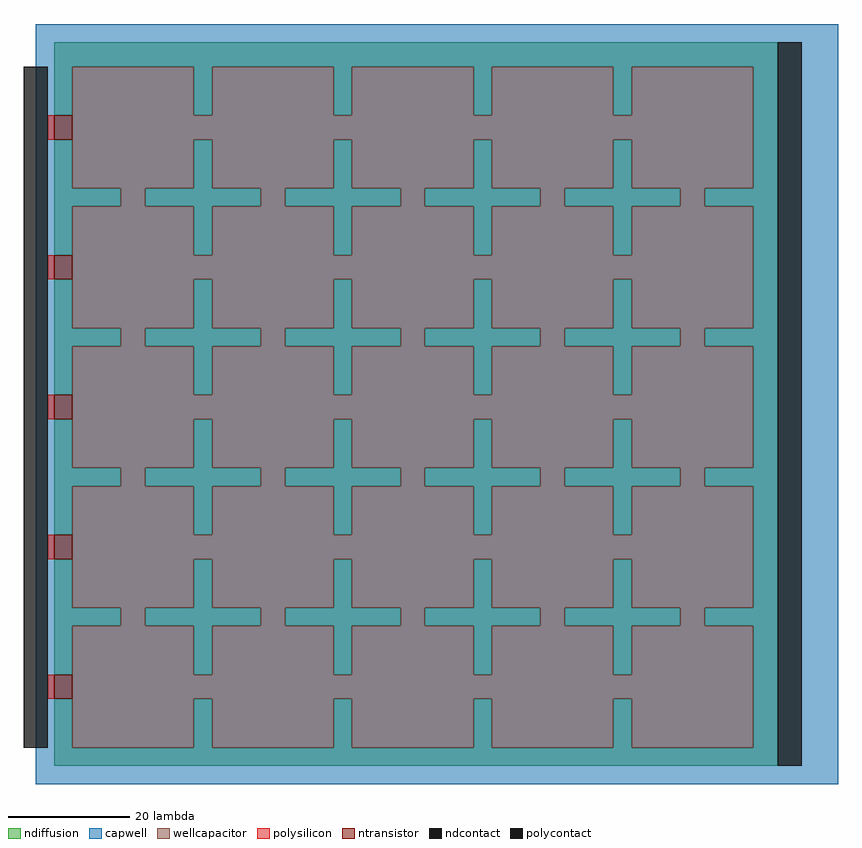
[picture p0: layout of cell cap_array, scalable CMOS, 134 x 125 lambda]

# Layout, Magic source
magic
tech scmos
<< capwell >>
rect -3 -3 129 122
<< polysilicon >>
rect -1 103 0 107
rect -1 80 0 84
rect -1 57 0 61
rect -1 34 0 38
rect -1 11 0 15
<< wellcapacitor >>
rect 3 107 23 115
rect 26 107 46 115
rect 49 107 69 115
rect 72 107 92 115
rect 95 107 115 115
rect 3 103 115 107
rect 3 95 23 103
rect 26 95 46 103
rect 49 95 69 103
rect 72 95 92 103
rect 95 95 115 103
rect 11 92 15 95
rect 34 92 38 95
rect 57 92 61 95
rect 80 92 84 95
rect 103 92 107 95
rect 3 84 23 92
rect 26 84 46 92
rect 49 84 69 92
rect 72 84 92 92
rect 95 84 115 92
rect 3 80 115 84
rect 3 72 23 80
rect 26 72 46 80
rect 49 72 69 80
rect 72 72 92 80
rect 95 72 115 80
rect 11 69 15 72
rect 34 69 38 72
rect 57 69 61 72
rect 80 69 84 72
rect 103 69 107 72
rect 3 61 23 69
rect 26 61 46 69
rect 49 61 69 69
rect 72 61 92 69
rect 95 61 115 69
rect 3 57 115 61
rect 3 49 23 57
rect 26 49 46 57
rect 49 49 69 57
rect 72 49 92 57
rect 95 49 115 57
rect 11 46 15 49
rect 34 46 38 49
rect 57 46 61 49
rect 80 46 84 49
rect 103 46 107 49
rect 3 38 23 46
rect 26 38 46 46
rect 49 38 69 46
rect 72 38 92 46
rect 95 38 115 46
rect 3 34 115 38
rect 3 26 23 34
rect 26 26 46 34
rect 49 26 69 34
rect 72 26 92 34
rect 95 26 115 34
rect 11 23 15 26
rect 34 23 38 26
rect 57 23 61 26
rect 80 23 84 26
rect 103 23 107 26
rect 3 15 23 23
rect 26 15 46 23
rect 49 15 69 23
rect 72 15 92 23
rect 95 15 115 23
rect 3 11 115 15
rect 3 3 23 11
rect 26 3 46 11
rect 49 3 69 11
rect 72 3 92 11
rect 95 3 115 11
<< ndiffusion >>
rect 0 115 119 119
rect 0 107 3 115
rect 23 107 26 115
rect 46 107 49 115
rect 69 107 72 115
rect 92 107 95 115
rect 0 95 3 103
rect 23 95 26 103
rect 46 95 49 103
rect 69 95 72 103
rect 92 95 95 103
rect 115 95 119 115
rect 0 92 11 95
rect 15 92 34 95
rect 38 92 57 95
rect 61 92 80 95
rect 84 92 103 95
rect 107 92 119 95
rect 0 84 3 92
rect 23 84 26 92
rect 46 84 49 92
rect 69 84 72 92
rect 92 84 95 92
rect 0 72 3 80
rect 23 72 26 80
rect 46 72 49 80
rect 69 72 72 80
rect 92 72 95 80
rect 115 72 119 92
rect 0 69 11 72
rect 15 69 34 72
rect 38 69 57 72
rect 61 69 80 72
rect 84 69 103 72
rect 107 69 119 72
rect 0 61 3 69
rect 23 61 26 69
rect 46 61 49 69
rect 69 61 72 69
rect 92 61 95 69
rect 0 49 3 57
rect 23 49 26 57
rect 46 49 49 57
rect 69 49 72 57
rect 92 49 95 57
rect 115 49 119 69
rect 0 46 11 49
rect 15 46 34 49
rect 38 46 57 49
rect 61 46 80 49
rect 84 46 103 49
rect 107 46 119 49
rect 0 38 3 46
rect 23 38 26 46
rect 46 38 49 46
rect 69 38 72 46
rect 92 38 95 46
rect 0 26 3 34
rect 23 26 26 34
rect 46 26 49 34
rect 69 26 72 34
rect 92 26 95 34
rect 115 26 119 46
rect 0 23 11 26
rect 15 23 34 26
rect 38 23 57 26
rect 61 23 80 26
rect 84 23 103 26
rect 107 23 119 26
rect 0 15 3 23
rect 23 15 26 23
rect 46 15 49 23
rect 69 15 72 23
rect 92 15 95 23
rect 0 3 3 11
rect 23 3 26 11
rect 46 3 49 11
rect 69 3 72 11
rect 92 3 95 11
rect 115 3 119 23
rect 0 0 119 3
<< ntransistor >>
rect 0 103 3 107
rect 0 80 3 84
rect 0 57 3 61
rect 0 34 3 38
rect 0 11 3 15
<< polycontact >>
rect -5 3 -1 115
<< ndcontact >>
rect 119 0 123 119
<< end >>
